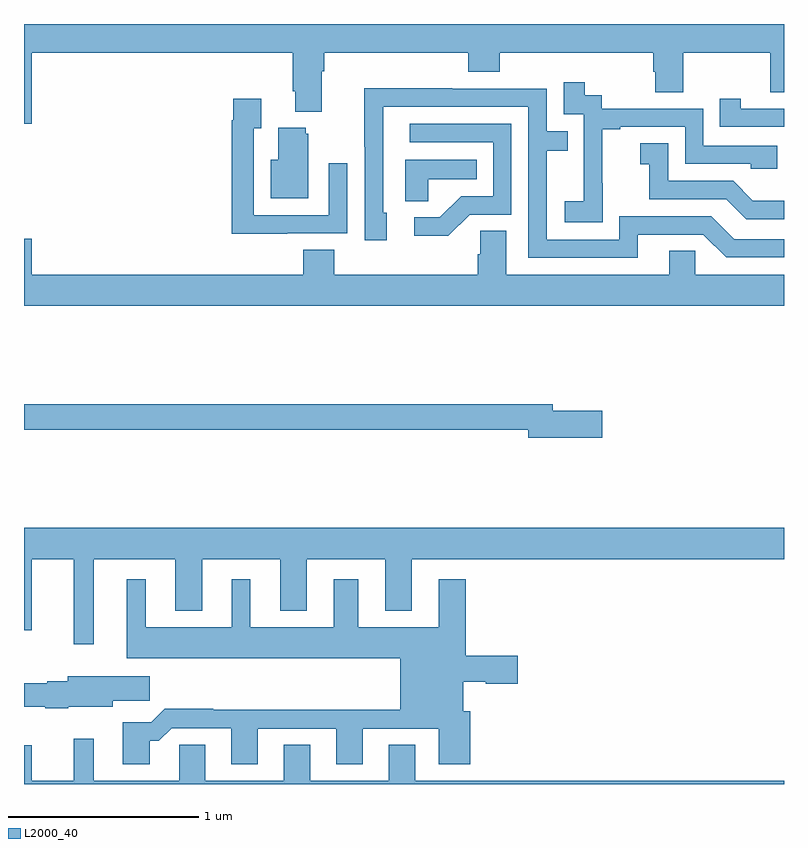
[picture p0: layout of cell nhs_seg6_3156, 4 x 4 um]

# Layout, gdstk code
import gdstk
lib = gdstk.Library(unit=1e-6, precision=1e-09)
def P(c, l, *ps):  # polygons
    for p in ps: c.add(gdstk.Polygon(p, *l))
L2000_40 = (2000, 40)

nhs_seg6_3156 = lib.new_cell('nhs_seg6_3156')
P(nhs_seg6_3156, L2000_40, [(297.04,935.348),(298.415,935.348),(298.415,935.146),(298.427,935.146),(298.427,935.039),(298.567,935.039),(298.567,935.252),(298.58,935.252),(298.58,935.348),(299.339,935.348),(299.339,935.249),(299.504,935.249),(299.504,935.348),(300.311,935.348),(300.311,935.25),(300.323,935.25),(300.323,935.14),(300.471,935.14),(300.471,935.348),(300.928,935.348),(300.928,935.14),(301,935.14),(301,935.5),(297,935.5),(297,934.974),(297.04,934.974)],
  [(300.045,934.663),(300.044,934.663),(300.044,934.947),(300.139,934.947),(300.139,934.959),(300.48,934.959),(300.48,934.764),(300.825,934.764),(300.825,934.737),(300.965,934.737),(300.965,934.86),(300.576,934.86),(300.576,935.055),(300.042,935.055),(300.042,935.124),(299.95,935.124),(299.95,935.194),(299.841,935.194),(299.841,935.025),(299.946,935.025),(299.946,934.796),(299.945,934.796),(299.945,934.567),(299.847,934.567),(299.847,934.457),(300.045,934.457)],
  [(300.229,934.392),(300.576,934.392),(300.696,934.272),(301,934.272),(301,934.368),(300.738,934.368),(300.618,934.488),(300.132,934.488),(300.132,934.365),(299.751,934.365),(299.751,934.834),(299.861,934.834),(299.861,934.935),(299.751,934.935),(299.751,935.16),(299.255,935.16),(299.255,935.162),(298.792,935.162),(298.792,934.855),(298.794,934.855),(298.794,934.362),(298.909,934.362),(298.909,934.506),(298.89,934.506),(298.89,935.064),(299.655,935.064),(299.655,934.269),(300.229,934.269)],
  [(298.385,934.398),(298.701,934.398),(298.701,934.768),(298.605,934.768),(298.605,934.494),(298.209,934.494),(298.209,934.951),(298.249,934.951),(298.249,935.107),(298.101,935.107),(298.101,934.994),(298.093,934.994),(298.093,934.397),(298.385,934.397)],
  [(301,935.055),(300.772,935.055),(300.772,935.107),(300.661,935.107),(300.661,934.959),(301,934.959)],
  [(299.346,934.497),(299.565,934.497),(299.565,934.974),(299.031,934.974),(299.031,934.878),(299.469,934.878),(299.469,934.593),(299.3,934.593),(299.189,934.482),(299.055,934.482),(299.055,934.385),(299.233,934.385)],
  [(298.495,934.923),(298.484,934.923),(298.484,934.954),(298.337,934.954),(298.337,934.786),(298.298,934.786),(298.298,934.583),(298.495,934.583)],
  [(301,934.57),(300.836,934.57),(300.732,934.674),(300.39,934.674),(300.39,934.873),(300.243,934.873),(300.243,934.763),(300.292,934.763),(300.292,934.578),(300.695,934.578),(300.8,934.473),(301,934.473)],
  [(299.127,934.682),(299.384,934.682),(299.384,934.786),(299.006,934.786),(299.006,934.567),(299.127,934.567)],
  [(301,934.18),(300.534,934.18),(300.534,934.307),(300.395,934.307),(300.395,934.18),(299.539,934.18),(299.539,934.412),(299.4,934.412),(299.4,934.289),(299.387,934.289),(299.387,934.18),(298.634,934.18),(298.634,934.313),(298.469,934.313),(298.469,934.18),(297.04,934.18),(297.04,934.369),(297,934.369),(297,934.016),(301,934.016)],
  [(300.043,933.464),(299.782,933.464),(299.782,933.5),(297,933.5),(297,933.364),(299.654,933.364),(299.654,933.322),(300.043,933.322)],
  [(297.367,932.684),(297.797,932.684),(297.797,932.411),(297.937,932.411),(297.937,932.684),(298.349,932.684),(298.349,932.411),(298.489,932.411),(298.489,932.684),(298.901,932.684),(298.901,932.411),(299.041,932.411),(299.041,932.684),(301,932.684),(301,932.848),(297,932.848),(297,932.31),(297.04,932.31),(297.04,932.684),(297.263,932.684),(297.263,932.235),(297.367,932.235)],
  [(297.661,931.727),(297.71,931.727),(297.777,931.794),(298.091,931.794),(298.091,931.605),(298.231,931.605),(298.231,931.791),(298.643,931.791),(298.643,931.605),(298.783,931.605),(298.783,931.791),(299.183,931.791),(299.183,931.605),(299.348,931.605),(299.348,931.884),(299.311,931.884),(299.311,932.039),(299.431,932.039),(299.431,932.027),(299.599,932.027),(299.599,932.174),(299.324,932.174),(299.324,932.578),(299.183,932.578),(299.183,932.326),(298.759,932.326),(298.759,932.578),(298.631,932.578),(298.631,932.326),(298.192,932.326),(298.192,932.578),(298.094,932.578),(298.094,932.326),(297.64,932.326),(297.64,932.578),(297.542,932.578),(297.542,932.162),(298.979,932.162),(298.979,931.892),(297.995,931.892),(297.995,931.895),(297.74,931.895),(297.67,931.825),(297.521,931.825),(297.521,931.605),(297.661,931.605)],
  [(297.234,931.907),(297.466,931.907),(297.466,931.939),(297.661,931.939),(297.661,932.068),(297.23,932.068),(297.23,932.042),(297.123,932.042),(297.123,932.029),(297,932.029),(297,931.907),(297.112,931.907),(297.112,931.9),(297.234,931.9)],
  [(301,931.516),(299.059,931.516),(299.059,931.706),(298.919,931.706),(298.919,931.516),(298.507,931.516),(298.507,931.706),(298.367,931.706),(298.367,931.516),(297.955,931.516),(297.955,931.706),(297.816,931.706),(297.816,931.516),(297.367,931.516),(297.367,931.738),(297.263,931.738),(297.263,931.516),(297.04,931.516),(297.04,931.705),(297,931.705),(297,931.5),(301,931.5)])

lib.write_gds('nhs_seg6_3156.gds')
